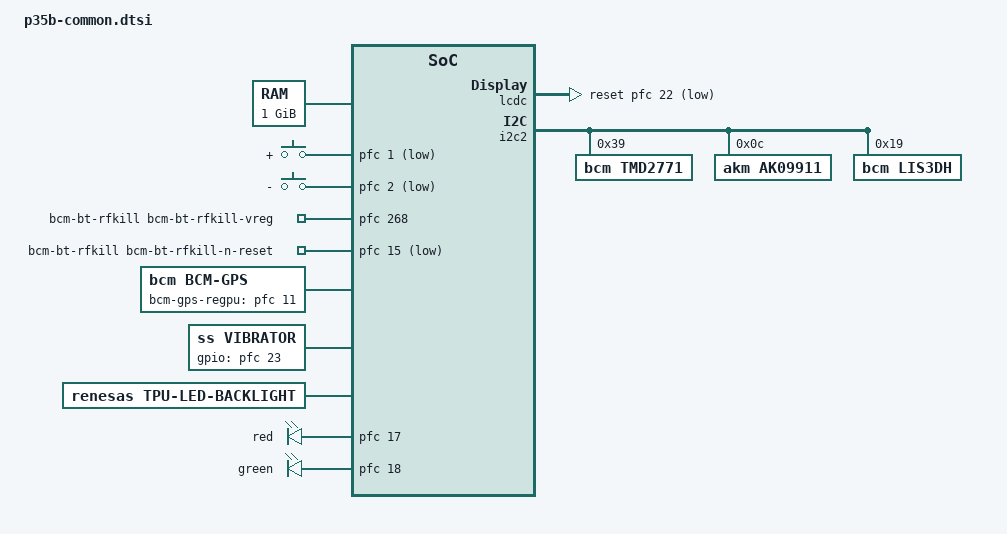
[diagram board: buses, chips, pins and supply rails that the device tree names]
/******************************************************************************/
/*                                                                            */
/* Copyright 2014 Broadcom Corporation                                        */
/*                                                                            */
/* Unless you and Broadcom execute a separate written software license        */
/* agreement governing use of this software, this software is licensed        */
/* to you under the terms of the GNU General Public License version 2         */
/* (the GPL), available at                                                    */
/*                                                                            */
/* http://www.broadcom.com/licenses/GPLv2.php                                 */
/*                                                                            */
/* with the following added to such license:                                  */
/*                                                                            */
/* As a special exception, the copyright holders of this software give        */
/* you permission to link this software with independent modules, and         */
/* to copy and distribute the resulting executable under terms of your        */
/* choice, provided that you also meet, for each linked independent           */
/* module, the terms and conditions of the license of that module.            */
/* An independent module is a module which is not derived from this           */
/* software. The special exception does not apply to any modifications        */
/* of the software.                                                           */
/*                                                                            */
/* Notwithstanding the above, under no circumstances may you combine          */
/* this software in any way with any other Broadcom software provided         */
/* under a license other than the GPL, without Broadcom's express             */
/* prior written consent.                                                     */
/*                                                                            */
/******************************************************************************/

#include "eos-board-common.dtsi"
#include <dt-bindings/gpio/gpio.h>
#include <dt-bindings/input/input.h>

/{
	chosen {
		bootargs = "console=ttySC0,115200 earlyprintk=sh-sci.0,115200";
		linux,sysrq-reset-seq {
			keyset = <KEY_VOLUMEDOWN KEY_VOLUMEUP>;
			timeout-ms = <3000>;
		};
	};

	memory@40000000 {
		device_type = "memory";
		reg = <0x40000000 0x40000000>;
	};

	gpio-keys {
		compatible = "gpio-keys";
		#address-cells = <0>;
		#size-cells = <0>;
		pinctrl-names = "default";
		pinctrl-0 = <&key_pins>;

		volume-up {
			label = "+";
			gpios = <&pfc 1 GPIO_ACTIVE_LOW>;
			linux,code = <KEY_VOLUMEUP>;
			gpio-key,wakeup;
		};

		volume-down {
			label = "-";
			gpios = <&pfc 2 GPIO_ACTIVE_LOW>;
			linux,code = <KEY_VOLUMEDOWN>;
			gpio-key,wakeup;
		};
	};

	bcm-bt-rfkill {
		compatible = "bcm,bcm-bt-rfkill";
		bcm-bt-rfkill-vreg-gpio = <&pfc 268 GPIO_ACTIVE_HIGH>;
		bcm-bt-rfkill-n-reset-gpio = <&pfc 15 GPIO_ACTIVE_LOW>;
	};

        wlan-sdio {
                compatible = "brcm,wlan-sdio";
                bcm-wlan-host-wake = <&pfc 98 GPIO_ACTIVE_HIGH>;
                bcm-wlan-reset = <&pfc 260 GPIO_ACTIVE_HIGH>;
        };


	sound {
		compatible = "renesas,fsi-snd-d2153";
		renesas,fsia = <&fsia>;
		renesas,fsib = <&fsib>;
		renesas,mclk-freq = <13000000>;
		renesas,audio-routing =
			"RECCHL", "AIFOUTL",
			"RECCHR", "AIFOUTR",
			"AIFINL", "VCLK4",
			"AIFINR", "VCLK4",
			"AIFOUTL", "VCLK4",
			"AIFOUTR", "VCLK4",
			"Headphone Jack Left", "Headphone Left PGA",
			"Headphone Jack Right", "Headphone Right PGA",
			"Speaker", "Speaker PGA",
			"Earpiece", "Earpiece PGA";
	};

	bcm-gps {
		compatible = "bcm,bcm-gps";
		bcm-gps-hostwake = <&pfc 0 GPIO_ACTIVE_HIGH>;
		bcm-gps-regpu-gpio = <&pfc 11 GPIO_ACTIVE_HIGH>;
	};

	vibrator {
		compatible = "ss,vibrator";
		regulator  = "vdd_motor_pmic";
		voltage    = <2800000>;
		gpio	   = <&pfc 23 GPIO_ACTIVE_HIGH>;
	};

	backlight {
		compatible = "renesas,tpu-led-backlight";
		renesas,tpu-channel = "TPU0TO3";
		max-brightness = <255>;
		default-brightness = <143>;
		pinctrl-names = "default", "idle";
		pinctrl-0 = <&backlight_pin>;
		pinctrl-1 = <&backlight_pin_hiz>;
	};

	gpio-leds {
		compatible = "gpio-leds";

		red {
			label = "red";
			gpios = <&pfc 17 GPIO_ACTIVE_HIGH>;
		};

		green {
			label = "green";
			gpios = <&pfc 18 GPIO_ACTIVE_HIGH>;
		};
	};
};

&lcdc {
	pname = "OTM9608A";
	reset-gpio = <&pfc 22 GPIO_ACTIVE_LOW>;
	te-irq = <&pfc 27 GPIO_ACTIVE_HIGH>;
};

&pfc {
	hogs {
		unused-pins {
			renesas,groups =
				"scifa0_clk", "scifa1_ctrl", "scifa1_clk",
				"scifb3_data", "vio_cko5", "bsc_rd_we16",
				"bsc_cs0", "bsc_cs2", "bsc_cs4", "bsc_wait",
				"bsc_rdwr", "bsc_data16", "bsc_cko",
				"bsc_addr_0_10","fsib_mclk_in", "sdhi2_data4",
				"sdhi2_ctrl", "sdhi0_wp";
			renesas,pins =
				"PORT3", "PORT6", "PORT10", "PORT14",
				"PORT17", "PORT18", "PORT24", "PORT25",
				"PORT26", "PORT29", "PORT33", "PORT44", "PORT46",
				"PORT47", "PORT72", "PORT73", "PORT74",
				"PORT75", "PORT80", "PORT81", "PORT82",
				"PORT83", "PORT86", "PORT87", "PORT88",
				"PORT89", "PORT90", "PORT96", "PORT97",
				"PORT102", "PORT103", "PORT104", "PORT105",
				"PORT107", "PORT110", "PORT140", "PORT141",
				"PORT142", "PORT198", "PORT199", "PORT275",
				"PORT276", "PORT277", "PORT311", "PORT312";
			bias-pull-down;
		};
	};

	key_pins: keys {
		renesas,pins = "PORT1", "PORT2";
		bias-pull-up;
	};

	backlight_pin: backlight {
		renesas,groups = "tpu0_to3";
		renesas,function = "tpu0";
	};

	backlight_pin_hiz: backlight_hiz {
		renesas,groups = "tpu0_to3";
		bias-high-impedance;
	};
};

&i2c2 {
	#address-cells = <1>;
	#size-cells = <0>;

	/* Proximity Sensor */
	tmd2771: tmd2771@0x39 {
		compatible = "bcm,tmd2771";
		reg = <0x39>;
		gpio-irq-pin = <108>;
		calibrate_target_param = <300000>;
		als_time_param = <200>;
		scale_factor_param = <1>;
		gain_trim_param = <512>;
		filter_history_param = <3>;
		filter_count_param = <1>;
		gain_param = <2>;
		prox_threshold_hi_param = <700>;
		prox_threshold_lo_param = <460>;
		als_threshold_hi_param = <1>;
		als_threshold_lo_param = <0>;
		prox_int_time_param = <238>;
		prox_adc_time_param = <255>;
		prox_wait_time_param = <238>;
		prox_intr_filter_param = <0x41>;
		prox_config_param = <0>;
		prox_pulse_cnt_param = <32>;
		prox_gain_param = <0xA2>;
		prox_win_sw = <10>;
	};

	/* e-compass Sensor */
	ak09911: ak09911@0c {
		compatible = "akm,ak09911";
		/* slave address */
		reg = <0x0c>;
	};

	/* Accelerometer sensor */
	lis3dh: lis3dh@0x19 {
		compatible = "bcm,lis3dh";
		/* slave address */
		reg = <0x19>;
		axis_map_x = <1>;
		axis_map_y = <0>;
		axis_map_z = <2>;
		negate_x = <1>;
		negate_y = <1>;
		negate_z = <1>;
	};

};
